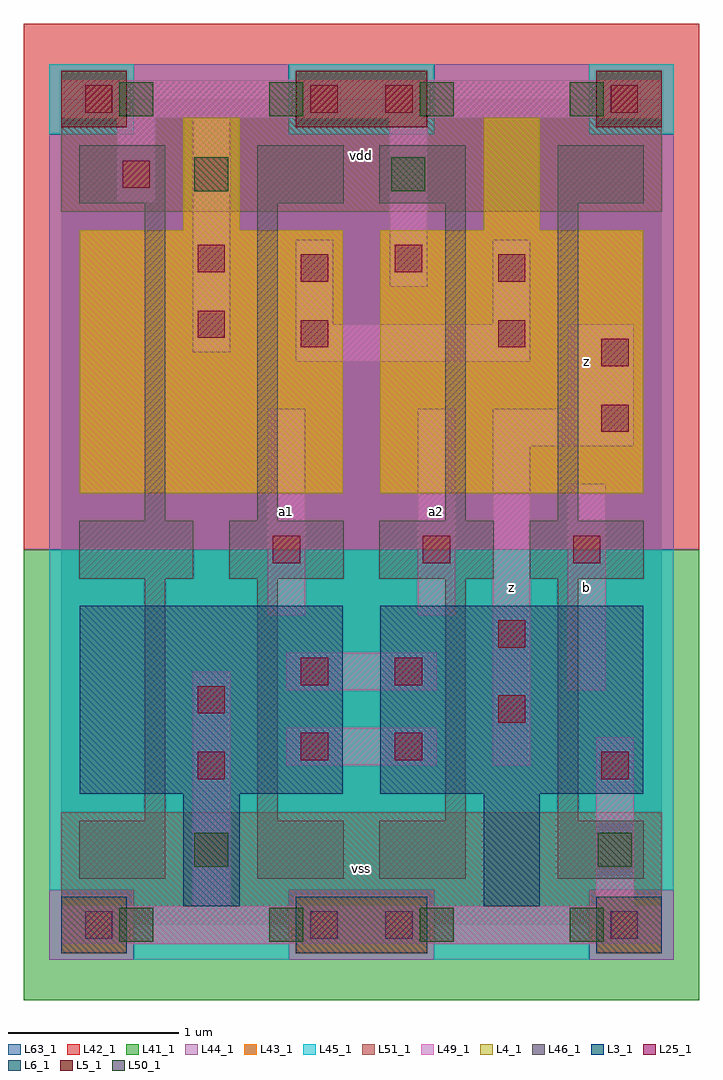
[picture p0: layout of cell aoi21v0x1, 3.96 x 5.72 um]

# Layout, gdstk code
import gdstk
lib = gdstk.Library(unit=1e-6, precision=1e-09)
def R(c, l, rs):  # rectangles x0, y0, x1, y1
    for r in rs: c.add(gdstk.rectangle(r[:2], r[2:], *l))
def A(c, l, x, y, w, h, nx, ny, dx, dy):  # array of equal rectangles
    R(c, l, [(x+i*dx, y+j*dy, x+i*dx+w, y+j*dy+h) for i in range(nx) for j in range(ny)])
L3_1 = (3, 1)
L4_1 = (4, 1)
L5_1 = (5, 1)
L6_1 = (6, 1)
L25_1 = (25, 1)
L41_1 = (41, 1)
L42_1 = (42, 1)
L43_1 = (43, 1)
L44_1 = (44, 1)
L45_1 = (45, 1)
L46_1 = (46, 1)
L49_1 = (49, 1)
L50_1 = (50, 1)
L51_1 = (51, 1)
L63_1 = (63, 1)

aoi21v0x1 = lib.new_cell('aoi21v0x1')
R(aoi21v0x1, L3_1, [(0.715,0.11,1.045,0.77), (2.475,0.11,2.805,0.77), (0.11,0.77,1.65,1.87), (1.87,0.77,3.41,1.87)])
R(aoi21v0x1, L4_1, [(0.11,2.53,1.65,4.07), (1.87,2.53,3.41,4.07), (0.715,4.07,1.045,4.73), (2.475,4.07,2.805,4.73)])
R(aoi21v0x1, L5_1, [(0,4.675,0.385,5.005), (1.375,4.675,2.145,5.005), (3.135,4.675,3.52,5.005)])
R(aoi21v0x1, L6_1, [(0,-0.165,0.385,0.165), (1.375,-0.165,2.145,0.165), (3.135,-0.165,3.52,0.165)])
A(aoi21v0x1, L25_1, 1.24, 2.12, 0.16, 0.16, 3, 1, 0.88, 0)
R(aoi21v0x1, L25_1, [(0.14,-0.08,0.3,0.08), (1.46,-0.08,1.62,0.08), (1.9,-0.08,2.06,0.08), (3.22,-0.08,3.38,0.08), (0.8,0.855,0.96,1.015), (3.165,0.855,3.325,1.015), (1.405,0.965,1.565,1.125), (1.955,0.965,2.115,1.125), (2.56,1.185,2.72,1.345), (0.8,1.24,0.96,1.4), (1.405,1.405,1.565,1.565), (1.955,1.405,2.115,1.565), (2.56,1.625,2.72,1.785), (3.165,2.89,3.325,3.05), (3.165,3.275,3.325,3.435), (1.405,3.385,1.565,3.545), (2.56,3.385,2.72,3.545), (0.8,3.44,0.96,3.6), (1.405,3.77,1.565,3.93), (2.56,3.77,2.72,3.93), (0.8,3.825,0.96,3.985), (1.955,3.825,2.115,3.985), (0.36,4.32,0.52,4.48), (0.14,4.76,0.3,4.92), (1.46,4.76,1.62,4.92), (1.9,4.76,2.06,4.92), (3.22,4.76,3.38,4.92)])
R(aoi21v0x1, L41_1, [(-0.22,-0.44,3.74,2.2)])
R(aoi21v0x1, L42_1, [(-0.22,2.2,3.74,5.28)])
R(aoi21v0x1, L43_1, [(0,-0.165,0.385,0.165), (1.375,-0.165,2.145,0.165), (3.135,-0.165,3.52,0.165), (0.715,0.11,1.045,0.77), (2.475,0.11,2.805,0.77), (0.11,0.77,1.65,1.87), (1.87,0.77,3.41,1.87), (0.11,2.53,1.65,4.07), (1.87,2.53,3.41,4.07), (0.715,4.07,1.045,4.73), (2.475,4.07,2.805,4.73), (0,4.675,0.385,5.005), (1.375,4.675,2.145,5.005), (3.135,4.675,3.52,5.005)])
R(aoi21v0x1, L44_1, [(-0.07,-0.205,0.425,0.205), (1.335,-0.205,2.185,0.205), (3.095,-0.205,3.59,0.205), (-0.07,2.2,3.59,4.635), (0.425,4.635,1.335,5.045), (2.185,4.635,3.095,5.045)])
R(aoi21v0x1, L45_1, [(0.425,-0.205,1.335,0.205), (2.185,-0.205,3.095,0.205), (-0.07,0.205,3.59,2.2), (-0.07,4.635,0.425,5.045), (1.335,4.635,2.185,5.045), (3.095,4.635,3.59,5.045)])
A(aoi21v0x1, L46_1, 0.105, 2.03, 0.67, 0.34, 4, 1, 0.88, 0)
R(aoi21v0x1, L46_1, [(0.105,0.27,0.61,0.61), (1.15,0.27,1.655,0.61), (1.865,0.27,2.37,0.61), (2.91,0.27,3.415,0.61), (0.49,0.61,0.61,2.03), (1.15,0.61,1.27,2.03), (2.25,0.61,2.37,2.03), (2.91,0.61,3.03,2.03), (0.49,2.37,0.61,4.23), (1.15,2.37,1.27,4.23), (2.25,2.37,2.37,4.23), (2.91,2.37,3.03,4.23), (0.105,4.23,0.61,4.57), (1.15,4.23,1.655,4.57), (1.865,4.23,2.37,4.57), (2.91,4.23,3.415,4.57)])
R(aoi21v0x1, L49_1, [(0,-0.11,3.52,0.11), (0.77,0.11,0.99,1.485), (3.135,0.11,3.355,1.1), (1.32,0.935,2.2,1.155), (2.53,0.935,2.75,2.805), (1.32,1.375,2.2,1.595), (2.97,1.375,3.19,2.585), (1.21,1.815,1.43,3.025), (2.09,1.815,2.31,3.025), (2.53,2.805,3.355,3.025), (2.97,3.025,3.355,3.52), (1.375,3.3,2.75,3.52), (0.77,3.355,0.99,4.73), (1.375,3.52,1.595,4.015), (2.53,3.52,2.75,4.015), (1.925,3.74,2.145,4.73), (0.33,4.235,0.55,4.73), (0,4.73,3.52,4.95)])
A(aoi21v0x1, L50_1, 0.34, -0.1, 0.2, 0.2, 4, 2, 0.88, 4.84)
R(aoi21v0x1, L50_1, [(0.78,0.34,0.98,0.54), (3.145,0.34,3.345,0.54), (0.78,4.3,0.98,4.5), (1.935,4.3,2.135,4.5)])
R(aoi21v0x1, L51_1, [(0,-0.11,3.52,0.66), (0,4.18,3.52,4.95)])
R(aoi21v0x1, L63_1, [(0,0,3.52,4.84)])
aoi21v0x1.add(gdstk.Label('a1', (1.32,2.42), layer=49, texttype=1))
aoi21v0x1.add(gdstk.Label('a2', (2.2,2.42), layer=49, texttype=1))
aoi21v0x1.add(gdstk.Label('z', (2.64,1.98), layer=49, texttype=1))
aoi21v0x1.add(gdstk.Label('b', (3.08,1.98), layer=49, texttype=1))
aoi21v0x1.add(gdstk.Label('z', (3.08,3.3), layer=49, texttype=1))
aoi21v0x1.add(gdstk.Label('vss', (1.76,0.33), layer=51, texttype=1))
aoi21v0x1.add(gdstk.Label('vdd', (1.76,4.51), layer=51, texttype=1))

lib.write_gds('aoi21v0x1.gds')
